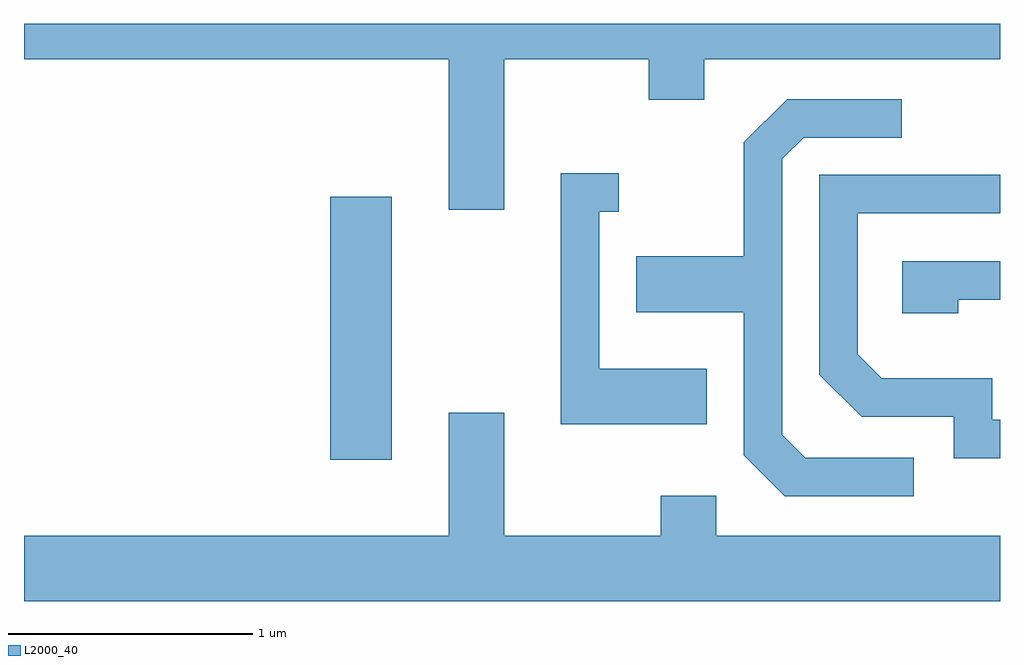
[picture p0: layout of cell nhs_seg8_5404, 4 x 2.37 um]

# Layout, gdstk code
import gdstk
lib = gdstk.Library(unit=1e-6, precision=1e-09)
def R(c, l, rs):  # rectangles x0, y0, x1, y1
    for r in rs: c.add(gdstk.rectangle(r[:2], r[2:], *l))
def P(c, l, *ps):  # polygons
    for p in ps: c.add(gdstk.Polygon(p, *l))
L2000_40 = (2000, 40)

nhs_seg8_5404 = lib.new_cell('nhs_seg8_5404')
R(nhs_seg8_5404, L2000_40, [(348.866,1832.556,349.119,1833.634)])
P(nhs_seg8_5404, L2000_40, [(349.579,1834.196),(350.171,1834.196),(350.171,1834.031),(350.399,1834.031),(350.399,1834.196),(351.611,1834.196),(351.611,1834.342),(347.611,1834.342),(347.611,1834.196),(349.351,1834.196),(349.351,1833.581),(349.579,1833.581)],
  [(351.258,1832.564),(350.812,1832.564),(350.719,1832.657),(350.719,1833.789),(350.807,1833.876),(351.208,1833.876),(351.208,1834.034),(350.739,1834.034),(350.561,1833.857),(350.561,1833.389),(350.121,1833.389),(350.121,1833.161),(350.561,1833.161),(350.561,1832.574),(350.729,1832.406),(351.258,1832.406)],
  [(350.409,1832.929),(349.969,1832.929),(349.969,1833.571),(350.048,1833.571),(350.048,1833.729),(349.811,1833.729),(349.811,1832.701),(350.409,1832.701)],
  [(351.611,1832.719),(351.579,1832.719),(351.579,1832.889),(351.127,1832.889),(351.029,1832.987),(351.029,1833.566),(351.611,1833.566),(351.611,1833.724),(350.871,1833.724),(350.871,1832.904),(351.044,1832.731),(351.421,1832.731),(351.421,1832.561),(351.611,1832.561)],
  [(351.439,1833.211),(351.611,1833.211),(351.611,1833.369),(351.211,1833.369),(351.211,1833.156),(351.439,1833.156)],
  [(351.611,1832.244),(350.449,1832.244),(350.449,1832.409),(350.221,1832.409),(350.221,1832.244),(349.579,1832.244),(349.579,1832.749),(349.351,1832.749),(349.351,1832.244),(347.611,1832.244),(347.611,1831.976),(351.611,1831.976)])

lib.write_gds('nhs_seg8_5404.gds')
